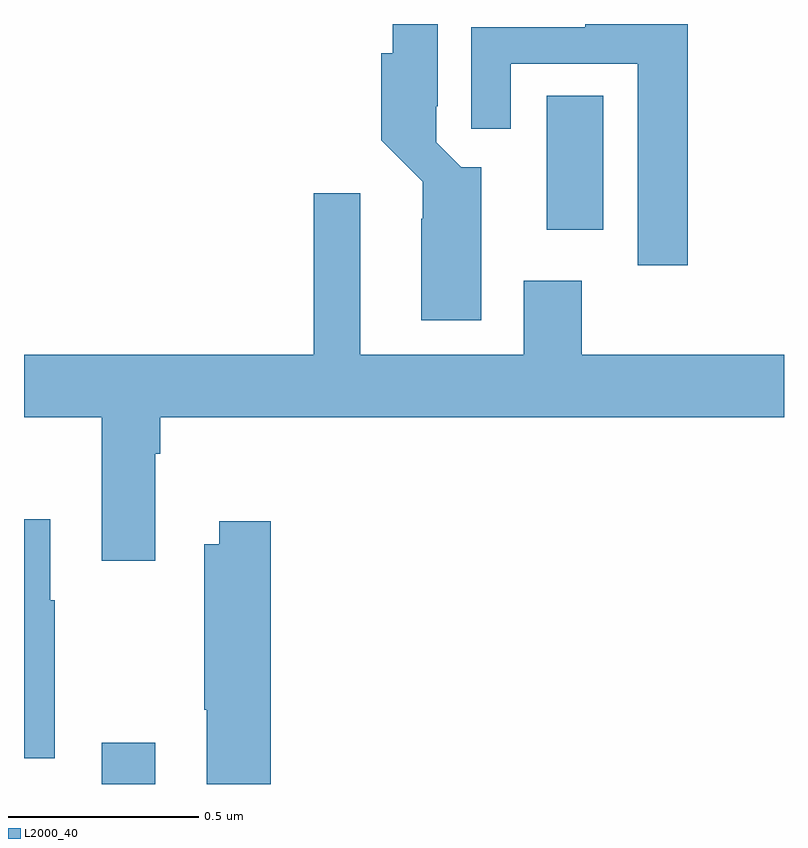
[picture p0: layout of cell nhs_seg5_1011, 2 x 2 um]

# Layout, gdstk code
import gdstk
lib = gdstk.Library(unit=1e-6, precision=1e-09)
def R(c, l, rs):  # rectangles x0, y0, x1, y1
    for r in rs: c.add(gdstk.rectangle(r[:2], r[2:], *l))
def P(c, l, *ps):  # polygons
    for p in ps: c.add(gdstk.Polygon(p, *l))
L2000_40 = (2000, 40)

nhs_seg5_1011 = lib.new_cell('nhs_seg5_1011')
R(nhs_seg5_1011, L2000_40, [(124.205,851.799,124.345,851.908), (125.375,853.257,125.524,853.61)])
P(nhs_seg5_1011, L2000_40, [(125.747,853.799),(125.477,853.799),(125.477,853.791),(125.177,853.791),(125.177,853.524),(125.281,853.524),(125.281,853.695),(125.615,853.695),(125.615,853.164),(125.747,853.164)],
  [(125.203,853.422),(125.151,853.422),(125.085,853.488),(125.085,853.582),(125.089,853.582),(125.089,853.799),(124.97,853.799),(124.97,853.722),(124.94,853.722),(124.94,853.493),(125.049,853.384),(125.049,853.286),(125.045,853.286),(125.045,853.019),(125.203,853.019)],
  [(124.345,852.668),(124.358,852.668),(124.358,852.764),(126,852.764),(126,852.928),(125.468,852.928),(125.468,853.123),(125.315,853.123),(125.315,852.928),(124.885,852.928),(124.885,853.354),(124.763,853.354),(124.763,852.928),(124,852.928),(124,852.764),(124.205,852.764),(124.205,852.387),(124.345,852.387)],
  [(124.081,852.283),(124.069,852.283),(124.069,852.496),(124,852.496),(124,851.867),(124.081,851.867)],
  [(124.649,852.49),(124.514,852.49),(124.514,852.43),(124.474,852.43),(124.474,851.995),(124.481,851.995),(124.481,851.799),(124.649,851.799)])

lib.write_gds('nhs_seg5_1011.gds')
